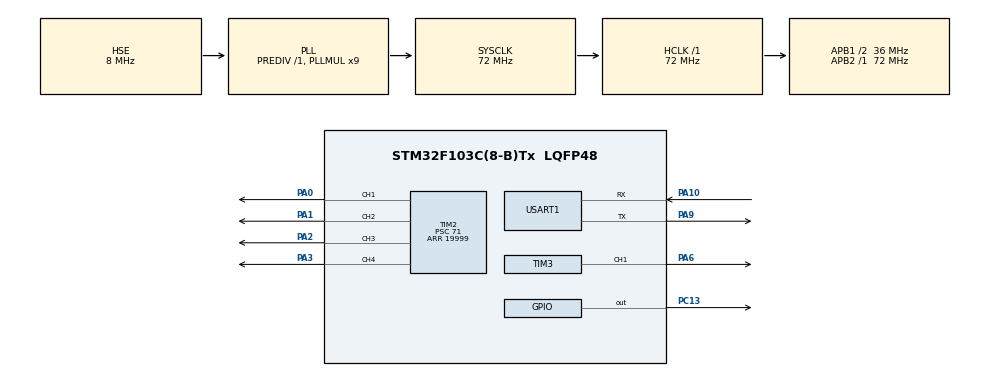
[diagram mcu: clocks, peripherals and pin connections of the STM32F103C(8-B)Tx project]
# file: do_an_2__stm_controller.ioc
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FREERTOS.BinarySemaphores01=sensorSem,Static,sensorSemControlBlock,Depleted;rxSem,Static,rxSemControlBlock,Available
FREERTOS.Mutexes01=finger_data_mutex,Static,finger_data_mutexControlBlock,Available
FREERTOS.Tasks01=comsTask,24,512,StartComsTask,Default,NULL,Static,comsTaskBuffer,comsTaskControlBlock;servoTask,8,128,StartServoTask,Default,NULL,Static,servoTaskBuffer,servoTaskControlBlock;sensorTask,8,512,StartSensorTask,Default,NULL,Static,sensorTaskBuffer,sensorTaskControlBlock
Mcu.Family=STM32F1
Mcu.Name=STM32F103C(8-B)Tx
Mcu.Package=LQFP48
NVIC.PriorityGroup=NVIC_PRIORITYGROUP_4
NVIC.USART1_IRQn=true\:5\:0\:false\:false\:true\:true\:true\:true\:true
PA0-WKUP.Signal=S_TIM2_CH1_ETR
PA1.Signal=S_TIM2_CH2
PA10.Mode=Asynchronous
PA10.Signal=USART1_RX
PA2.Signal=S_TIM2_CH3
PA3.Signal=S_TIM2_CH4
PA6.Signal=S_TIM3_CH1
PA9.Mode=Asynchronous
PA9.Signal=USART1_TX
PC13-TAMPER-RTC.Signal=GPIO_Output
PD0-OSC_IN.Mode=HSE-External-Oscillator
PD0-OSC_IN.Signal=RCC_OSC_IN
PD1-OSC_OUT.Mode=HSE-External-Oscillator
PD1-OSC_OUT.Signal=RCC_OSC_OUT
ProjectManager.HeapSize=0x200
ProjectManager.StackSize=0x400
ProjectManager.TargetToolchain=STM32CubeIDE
RCC.AHBFreq_Value=72000000
RCC.APB1CLKDivider=RCC_HCLK_DIV2
RCC.APB1Freq_Value=36000000
RCC.APB1TimFreq_Value=72000000
RCC.APB2Freq_Value=72000000
RCC.APB2TimFreq_Value=72000000
RCC.HCLKFreq_Value=72000000
RCC.PLLMUL=RCC_PLL_MUL9
RCC.PLLSourceVirtual=RCC_PLLSOURCE_HSE
RCC.SYSCLKFreq_VALUE=72000000
RCC.SYSCLKSource=RCC_SYSCLKSOURCE_PLLCLK
RCC.USBFreq_Value=72000000
SH.S_TIM2_CH1_ETR.0=TIM2_CH1,PWM Generation1 CH1
SH.S_TIM2_CH2.0=TIM2_CH2,PWM Generation2 CH2
SH.S_TIM2_CH3.0=TIM2_CH3,PWM Generation3 CH3
SH.S_TIM2_CH4.0=TIM2_CH4,PWM Generation4 CH4
SH.S_TIM3_CH1.0=TIM3_CH1,PWM Generation1 CH1
TIM2.Channel-PWM\ Generation1\ CH1=TIM_CHANNEL_1
TIM2.Channel-PWM\ Generation2\ CH2=TIM_CHANNEL_2
TIM2.Channel-PWM\ Generation3\ CH3=TIM_CHANNEL_3
TIM2.Channel-PWM\ Generation4\ CH4=TIM_CHANNEL_4
TIM2.Period=19999
TIM2.Prescaler=71
TIM3.Channel-PWM\ Generation1\ CH1=TIM_CHANNEL_1
TIM3.Period=19999
TIM3.Prescaler=71
USART1.VirtualMode=VM_ASYNC
VP_FREERTOS_VS_CMSIS_V2.Mode=CMSIS_V2
VP_SYS_VS_ND.Mode=No_Debug
board=custom

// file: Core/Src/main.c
/* USER CODE BEGIN Header */
/**
  ******************************************************************************
  * @file           : main.c
  * @brief          : Main program body
  ******************************************************************************
  * @attention
  *
  * Copyright (c) 2026 STMicroelectronics.
  * All rights reserved.
  *
  * This software is licensed under terms that can be found in the LICENSE file
  * in the root directory of this software component.
  * If no LICENSE file comes with this software, it is provided AS-IS.
  *
  ******************************************************************************
  */
/* USER CODE END Header */
#include "main.h"
#include "cmsis_os.h"

/* USER CODE BEGIN Includes */
#include <stdio.h>
#include <string.h>
#include <stdarg.h>
#include "servo.h"
/* USER CODE END Includes */

typedef StaticTask_t osStaticThreadDef_t;
typedef StaticSemaphore_t osStaticMutexDef_t;
typedef StaticSemaphore_t osStaticSemaphoreDef_t;
/* USER CODE BEGIN PTD */
typedef struct {
    uint8_t angle[5];
} ServoCommand_t;

typedef struct {
	uint8_t angle;
	uint8_t target_angle;
} SensorData_t;
/* USER CODE END PTD */

/* USER CODE BEGIN PD */
#define FINGER0_CHANNEL TIM_CHANNEL_1
#define FINGER1_CHANNEL TIM_CHANNEL_2
#define FINGER2_CHANNEL TIM_CHANNEL_3
#define FINGER3_CHANNEL TIM_CHANNEL_4
#define FINGER4_CHANNEL TIM_CHANNEL_1

#define ANGLE_STEP 1
#define SERVO_UPDATE_INTERVAL 10

#define SAMPLING_INTERVAL 5
/* USER CODE END PD */

TIM_HandleTypeDef htim2;
TIM_HandleTypeDef htim3;

UART_HandleTypeDef huart1;

/* Definitions for comsTask */
osThreadId_t comsTaskHandle;
uint32_t comsTaskBuffer[ 512 ];
osStaticThreadDef_t comsTaskControlBlock;
const osThreadAttr_t comsTask_attributes = {
  .name = "comsTask",
  .cb_mem = &comsTaskControlBlock,
  .cb_size = sizeof(comsTaskControlBlock),
  .stack_mem = &comsTaskBuffer[0],
  .stack_size = sizeof(comsTaskBuffer),
  .priority = (osPriority_t) osPriorityNormal,
};
/* Definitions for servoTask */
osThreadId_t servoTaskHandle;
uint32_t servoTaskBuffer[ 128 ];
osStaticThreadDef_t servoTaskControlBlock;
const osThreadAttr_t servoTask_attributes = {
  .name = "servoTask",
  .cb_mem = &servoTaskControlBlock,
  .cb_size = sizeof(servoTaskControlBlock),
  .stack_mem = &servoTaskBuffer[0],
  .stack_size = sizeof(servoTaskBuffer),
  .priority = (osPriority_t) osPriorityLow,
};
/* Definitions for sensorTask */
osThreadId_t sensorTaskHandle;
uint32_t sensorTaskBuffer[ 512 ];
osStaticThreadDef_t sensorTaskControlBlock;
const osThreadAttr_t sensorTask_attributes = {
  .name = "sensorTask",
  .cb_mem = &sensorTaskControlBlock,
  .cb_size = sizeof(sensorTaskControlBlock),
  .stack_mem = &sensorTaskBuffer[0],
  .stack_size = sizeof(sensorTaskBuffer),
  .priority = (osPriority_t) osPriorityLow,
};
/* Definitions for finger_data_mutex */
osMutexId_t finger_data_mutexHandle;
osStaticMutexDef_t finger_data_mutexControlBlock;
const osMutexAttr_t finger_data_mutex_attributes = {
  .name = "finger_data_mutex",
  .cb_mem = &finger_data_mutexControlBlock,
  .cb_size = sizeof(finger_data_mutexControlBlock),
};
/* Definitions for sensorSem */
osSemaphoreId_t sensorSemHandle;
osStaticSemaphoreDef_t sensorSemControlBlock;
const osSemaphoreAttr_t sensorSem_attributes = {
  .name = "sensorSem",
  .cb_mem = &sensorSemControlBlock,
  .cb_size = sizeof(sensorSemControlBlock),
};
/* Definitions for rxSem */
osSemaphoreId_t rxSemHandle;
osStaticSemaphoreDef_t rxSemControlBlock;
const osSemaphoreAttr_t rxSem_attributes = {
  .name = "rxSem",
  .cb_mem = &rxSemControlBlock,
  .cb_size = sizeof(rxSemControlBlock),
};
/* USER CODE BEGIN PV */

osMessageQueueId_t servoCmdQueue;
Servo_t fingers[5];
SensorData_t finger_data[5];

char uart_rx_buf[128];
char uart_tx_buf[128];
volatile uint8_t rx_received = 0;
volatile uint16_t rx_len = 0;

char coms_processing_buf[128];
/* USER CODE END PV */

void SystemClock_Config(void);
static void MX_GPIO_Init(void);
static void MX_TIM2_Init(void);
static void MX_TIM3_Init(void);
static void MX_USART1_UART_Init(void);
void StartComsTask(void *argument);
void StartServoTask(void *argument);
void StartSensorTask(void *argument);

/* USER CODE BEGIN PFP */
void uart_send(const char *fmt, ...){
  va_list args;
  va_start(args, fmt);
  vsnprintf(uart_tx_buf, sizeof(uart_tx_buf), fmt, args);
  va_end(args);
  HAL_UART_Transmit(&huart1, (uint8_t*)uart_tx_buf, strlen(uart_tx_buf), 1000);
}
/* USER CODE END PFP */

int main(void)
{

  /* MCU Configuration--------------------------------------------------------*/

  /* Reset of all peripherals, Initializes the Flash interface and the Systick. */
  HAL_Init();

  /* Configure the system clock */
  SystemClock_Config();

  /* Initialize all configured peripherals */
  MX_GPIO_Init();
  MX_TIM2_Init();
  MX_TIM3_Init();
  MX_USART1_UART_Init();
  /* USER CODE BEGIN 2 */
  fingers[0] = ServoInit(&htim2, FINGER0_CHANNEL, 90);
  fingers[1] = ServoInit(&htim2, FINGER1_CHANNEL, 90);
  fingers[2] = ServoInit(&htim2, FINGER2_CHANNEL, 90);
  fingers[3] = ServoInit(&htim2, FINGER3_CHANNEL, 90);
  fingers[4] = ServoInit(&htim3, FINGER4_CHANNEL, 90);

  HAL_UARTEx_ReceiveToIdle_IT(&huart1, (uint8_t *)uart_rx_buf, sizeof(uart_rx_buf) - 1);
  /* USER CODE END 2 */

  /* Init scheduler */
  osKernelInitialize();
  /* Create the mutex(es) */
  /* creation of finger_data_mutex */
  finger_data_mutexHandle = osMutexNew(&finger_data_mutex_attributes);

  /* Create the semaphores(s) */
  /* creation of sensorSem */
  sensorSemHandle = osSemaphoreNew(1, 0, &sensorSem_attributes);

  /* creation of rxSem */
  rxSemHandle = osSemaphoreNew(1, 0, &rxSem_attributes);

  /* USER CODE BEGIN RTOS_QUEUES */
  servoCmdQueue = osMessageQueueNew(16, sizeof(ServoCommand_t), NULL);
  /* USER CODE END RTOS_QUEUES */

  /* Create the thread(s) */
  /* creation of comsTask */
  comsTaskHandle = osThreadNew(StartComsTask, NULL, &comsTask_attributes);

  /* creation of servoTask */
  servoTaskHandle = osThreadNew(StartServoTask, NULL, &servoTask_attributes);

  /* creation of sensorTask */
  sensorTaskHandle = osThreadNew(StartSensorTask, NULL, &sensorTask_attributes);

  /* Start scheduler */
  osKernelStart();

  /* We should never get here as control is now taken by the scheduler */

  /* Infinite loop */
  while (1)
  {

  }
}

void SystemClock_Config(void)
{
  RCC_OscInitTypeDef RCC_OscInitStruct = {0};
  RCC_ClkInitTypeDef RCC_ClkInitStruct = {0};

  /** Initializes the RCC Oscillators according to the specified parameters
  * in the RCC_OscInitTypeDef structure.
  */
  RCC_OscInitStruct.OscillatorType = RCC_OSCILLATORTYPE_HSE;
  RCC_OscInitStruct.HSEState = RCC_HSE_ON;
  RCC_OscInitStruct.HSEPredivValue = RCC_HSE_PREDIV_DIV1;
  RCC_OscInitStruct.HSIState = RCC_HSI_ON;
  RCC_OscInitStruct.PLL.PLLState = RCC_PLL_ON;
  RCC_OscInitStruct.PLL.PLLSource = RCC_PLLSOURCE_HSE;
  RCC_OscInitStruct.PLL.PLLMUL = RCC_PLL_MUL9;
  if (HAL_RCC_OscConfig(&RCC_OscInitStruct) != HAL_OK)
  {
    Error_Handler();
  }

  /** Initializes the CPU, AHB and APB buses clocks
  */
  RCC_ClkInitStruct.ClockType = RCC_CLOCKTYPE_HCLK|RCC_CLOCKTYPE_SYSCLK
                              |RCC_CLOCKTYPE_PCLK1|RCC_CLOCKTYPE_PCLK2;
  RCC_ClkInitStruct.SYSCLKSource = RCC_SYSCLKSOURCE_PLLCLK;
  RCC_ClkInitStruct.AHBCLKDivider = RCC_SYSCLK_DIV1;
  RCC_ClkInitStruct.APB1CLKDivider = RCC_HCLK_DIV2;
  RCC_ClkInitStruct.APB2CLKDivider = RCC_HCLK_DIV1;

  if (HAL_RCC_ClockConfig(&RCC_ClkInitStruct, FLASH_LATENCY_2) != HAL_OK)
  {
    Error_Handler();
  }
}

static void MX_TIM2_Init(void)
{

  TIM_MasterConfigTypeDef sMasterConfig = {0};
  TIM_OC_InitTypeDef sConfigOC = {0};

  htim2.Instance = TIM2;
  htim2.Init.Prescaler = 71;
  htim2.Init.CounterMode = TIM_COUNTERMODE_UP;
  htim2.Init.Period = 19999;
  htim2.Init.ClockDivision = TIM_CLOCKDIVISION_DIV1;
  htim2.Init.AutoReloadPreload = TIM_AUTORELOAD_PRELOAD_DISABLE;
  if (HAL_TIM_PWM_Init(&htim2) != HAL_OK)
  {
    Error_Handler();
  }
  sMasterConfig.MasterOutputTrigger = TIM_TRGO_RESET;
  sMasterConfig.MasterSlaveMode = TIM_MASTERSLAVEMODE_DISABLE;
  if (HAL_TIMEx_MasterConfigSynchronization(&htim2, &sMasterConfig) != HAL_OK)
  {
    Error_Handler();
  }
  sConfigOC.OCMode = TIM_OCMODE_PWM1;
  sConfigOC.Pulse = 0;
  sConfigOC.OCPolarity = TIM_OCPOLARITY_HIGH;
  sConfigOC.OCFastMode = TIM_OCFAST_DISABLE;
  if (HAL_TIM_PWM_ConfigChannel(&htim2, &sConfigOC, TIM_CHANNEL_1) != HAL_OK)
  {
    Error_Handler();
  }
  if (HAL_TIM_PWM_ConfigChannel(&htim2, &sConfigOC, TIM_CHANNEL_2) != HAL_OK)
  {
    Error_Handler();
  }
  if (HAL_TIM_PWM_ConfigChannel(&htim2, &sConfigOC, TIM_CHANNEL_3) != HAL_OK)
  {
    Error_Handler();
  }
  if (HAL_TIM_PWM_ConfigChannel(&htim2, &sConfigOC, TIM_CHANNEL_4) != HAL_OK)
  {
    Error_Handler();
  }
  HAL_TIM_MspPostInit(&htim2);

}

static void MX_TIM3_Init(void)
{

  TIM_MasterConfigTypeDef sMasterConfig = {0};
  TIM_OC_InitTypeDef sConfigOC = {0};

  htim3.Instance = TIM3;
  htim3.Init.Prescaler = 71;
  htim3.Init.CounterMode = TIM_COUNTERMODE_UP;
  htim3.Init.Period = 19999;
  htim3.Init.ClockDivision = TIM_CLOCKDIVISION_DIV1;
  htim3.Init.AutoReloadPreload = TIM_AUTORELOAD_PRELOAD_DISABLE;
  if (HAL_TIM_PWM_Init(&htim3) != HAL_OK)
  {
    Error_Handler();
  }
  sMasterConfig.MasterOutputTrigger = TIM_TRGO_RESET;
  sMasterConfig.MasterSlaveMode = TIM_MASTERSLAVEMODE_DISABLE;
  if (HAL_TIMEx_MasterConfigSynchronization(&htim3, &sMasterConfig) != HAL_OK)
  {
    Error_Handler();
  }
  sConfigOC.OCMode = TIM_OCMODE_PWM1;
  sConfigOC.Pulse = 0;
  sConfigOC.OCPolarity = TIM_OCPOLARITY_HIGH;
  sConfigOC.OCFastMode = TIM_OCFAST_DISABLE;
  if (HAL_TIM_PWM_ConfigChannel(&htim3, &sConfigOC, TIM_CHANNEL_1) != HAL_OK)
  {
    Error_Handler();
  }
  HAL_TIM_MspPostInit(&htim3);

}

static void MX_USART1_UART_Init(void)
{

  huart1.Instance = USART1;
  huart1.Init.BaudRate = 115200;
  huart1.Init.WordLength = UART_WORDLENGTH_8B;
  huart1.Init.StopBits = UART_STOPBITS_1;
  huart1.Init.Parity = UART_PARITY_NONE;
  huart1.Init.Mode = UART_MODE_TX_RX;
  huart1.Init.HwFlowCtl = UART_HWCONTROL_NONE;
  huart1.Init.OverSampling = UART_OVERSAMPLING_16;
  if (HAL_UART_Init(&huart1) != HAL_OK)
  {
    Error_Handler();
  }

}

static void MX_GPIO_Init(void)
{
  GPIO_InitTypeDef GPIO_InitStruct = {0};

  /* GPIO Ports Clock Enable */
  __HAL_RCC_GPIOC_CLK_ENABLE();
  __HAL_RCC_GPIOD_CLK_ENABLE();
  __HAL_RCC_GPIOA_CLK_ENABLE();

  /*Configure GPIO pin Output Level */
  HAL_GPIO_WritePin(GPIOC, GPIO_PIN_13, GPIO_PIN_RESET);

  /*Configure GPIO pin : PC13 */
  GPIO_InitStruct.Pin = GPIO_PIN_13;
  GPIO_InitStruct.Mode = GPIO_MODE_OUTPUT_PP;
  GPIO_InitStruct.Pull = GPIO_NOPULL;
  GPIO_InitStruct.Speed = GPIO_SPEED_FREQ_LOW;
  HAL_GPIO_Init(GPIOC, &GPIO_InitStruct);

}

/* USER CODE BEGIN 4 */
void HAL_UARTEx_RxEventCallback(UART_HandleTypeDef *huart, uint16_t Size)
{
    if (huart->Instance == USART1)
    {
        uart_rx_buf[Size] = '\0';
        memcpy(coms_processing_buf, uart_rx_buf, Size + 1);
        HAL_UARTEx_ReceiveToIdle_IT(&huart1, (uint8_t *)uart_rx_buf, sizeof(uart_rx_buf) - 1);
        osSemaphoreRelease(rxSemHandle);
    }
}

void HAL_UART_ErrorCallback(UART_HandleTypeDef *huart) {  // fixed the uart bug
  if (huart->Instance == USART1) {
	  HAL_UARTEx_ReceiveToIdle_IT(&huart1, (uint8_t *)uart_rx_buf, sizeof(uart_rx_buf) - 1);
  }
}
/* USER CODE END 4 */

void StartComsTask(void *argument)
{
  /* USER CODE BEGIN 5 */
	int angle[5];
  /* Infinite loop */
  for(;;)
  {
	  osSemaphoreAcquire(rxSemHandle, osWaitForever);

	  if (sscanf(coms_processing_buf, "%d,%d,%d,%d,%d",
												  &angle[0],
												  &angle[1],
												  &angle[2],
												  &angle[3],
												  &angle[4]) == 5){
		  ServoCommand_t cmd;

		  for (uint8_t i = 0; i < 5; i++){
			  cmd.angle[i] = (angle[i] > 180) ? 180 : (angle[i] < 0) ? 0 : angle[i];
		  }

		  osMessageQueuePut(servoCmdQueue, &cmd, 0, 0);
	  }

	  osDelay(1);
  }
  /* USER CODE END 5 */
}

void StartServoTask(void *argument)
{
  for(;;)
  {
      ServoCommand_t cmd;
      osMutexAcquire(finger_data_mutexHandle, osWaitForever);

      while (osMessageQueueGet(servoCmdQueue, &cmd, NULL, 0) == osOK) {
    	  for (uint8_t i = 0; i < 5; i++){
    		  fingers[i].target_angle = (cmd.angle[i] > 180) ? 180 : cmd.angle[i];
    	  }
      }

      uint8_t moving = 0;
      for (uint8_t i = 0; i < 5; i++){
          uint8_t prev_angle = GetServoAngle(&fingers[i]);
          ServoMoveStep(&fingers[i], fingers[i].target_angle, ANGLE_STEP);
          if (GetServoAngle(&fingers[i]) != prev_angle) {
              moving = 1;
          }
      }

      osMutexRelease(finger_data_mutexHandle);

      if (moving) osSemaphoreRelease(sensorSemHandle);

      osDelay(SERVO_UPDATE_INTERVAL);
  }
}

void StartSensorTask(void *argument)
{
    //char buffer[64];

    for(;;)
    {
    	osSemaphoreAcquire(sensorSemHandle, osWaitForever);
        osMutexAcquire(finger_data_mutexHandle, osWaitForever);

        for (uint8_t i = 0; i < 5; i++)
        {
            finger_data[i].angle = GetServoAngle(&fingers[i]);
            finger_data[i].target_angle = GetServoTargetAngle(&fingers[i]);
        }

        osMutexRelease(finger_data_mutexHandle);

        /*
        snprintf(buffer, sizeof(buffer),
                 "%d,%d,%d,%d,%d,%d,%d,%d,%d,%d\r\n",
                 finger_data[0].angle, finger_data[0].target_angle,
                 finger_data[1].angle, finger_data[1].target_angle,
                 finger_data[2].angle, finger_data[2].target_angle,
                 finger_data[3].angle, finger_data[3].target_angle,
                 finger_data[4].angle, finger_data[4].target_angle);
        */

        uart_send(
                 "%d,%d,%d,%d,%d,%d,%d,%d,%d,%d\r\n",
                 finger_data[0].angle, finger_data[0].target_angle,
                 finger_data[1].angle, finger_data[1].target_angle,
                 finger_data[2].angle, finger_data[2].target_angle,
                 finger_data[3].angle, finger_data[3].target_angle,
                 finger_data[4].angle, finger_data[4].target_angle);

        osDelay(1);
    }
}

void Error_Handler(void)
{
  __disable_irq();
  while (1)
  {
  }
}
